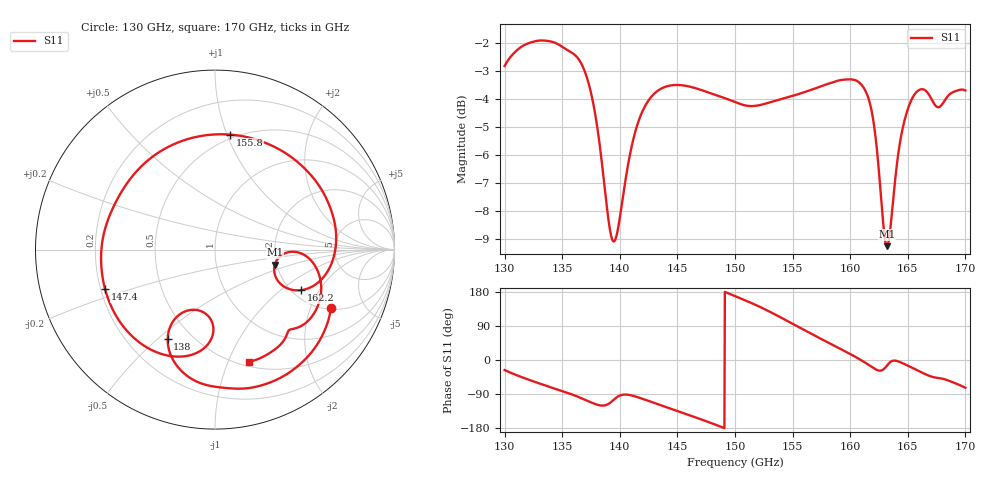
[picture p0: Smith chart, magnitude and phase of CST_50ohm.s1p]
! TOUCHSTONE file generated by CST MICROWAVE STUDIO
! Date and time: Fri Nov 20 23:23:44 2026
! Project name: Licensed_23_33_4x4.cst
! Parameters = {board_x_max=2.4; board_x_min=-3.12; eps_r=3.5; feed_width=0.1688; first_split_x=-2.9; inlet_rail_separation=0.225; inset_gap=0.02; inset_length=0.165; launch_length=0.5; loss_tangent=0.0027; match_length=0.14; match_start=0.17; match_width=0.045; mesh_box=33; mesh_near=23; metal_thic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
! Header version: 2024
! Port assignment regex: !\s*Touchstone port\s*([0-9]+)\s*=\s*(CST MWS port|CST DES external port|CST DES block port)\s*(.+)\s* \(\"(.*)\"\)(\s*mode\s*([0-9]+))?.*
! Touchstone port assignment:
! Touchstone port 1 = CST MWS port 1 ("50ohm_microstrip")
# GHz S RI R 50
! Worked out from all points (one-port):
!   1001 points, 130 GHz to 170 GHz, reference 50 ohm
!   lowest |S11| = -9.3 dB at 163.2 GHz (marker M1), VSWR 2.05, Z = 97.6 - j18.8 ohm
!   |S11| at or under -10 dB: nowhere
!   S11 on the Smith chart (normalised r, x): 130 GHz: 2.09, -2.81; 138 GHz: 0.37, -0.54; 147.4 GHz: 0.22, -0.16; 155.8 GHz: 0.47, +1.03; 162.2 GHz: 2.23, -1.40; 170 GHz: 0.55, -1.19
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130  0.646 -0.3226
132.56  0.4344 -0.6702
135  0.105 -0.7742
136.6  -0.1278 -0.7217
138.04  -0.2637 -0.4964
139.08  -0.1568 -0.3409
140  -0.0258 -0.3857
140.92  -0.0247 -0.5056
142.28  -0.1664 -0.594
143.52  -0.3172 -0.575
145  -0.4685 -0.476
147.4  -0.6131 -0.2182
150  -0.6106 0.1223
152.6  -0.4275 0.4465
155  -0.0621 0.6356
155.8  0.0838 0.6408
157.8  0.4252 0.5153
160  0.6576 0.186
161.24  0.6533 -0.0667
162.24  0.4797 -0.2258
162.8  0.3507 -0.1747
163.2  0.3335 -0.0848
163.92  0.4554 -0.0138
165  0.5844 -0.1551
165.76  0.5818 -0.2874
166.64  0.5048 -0.4092
168.64  0.364 -0.5299
170  0.188 -0.6252
